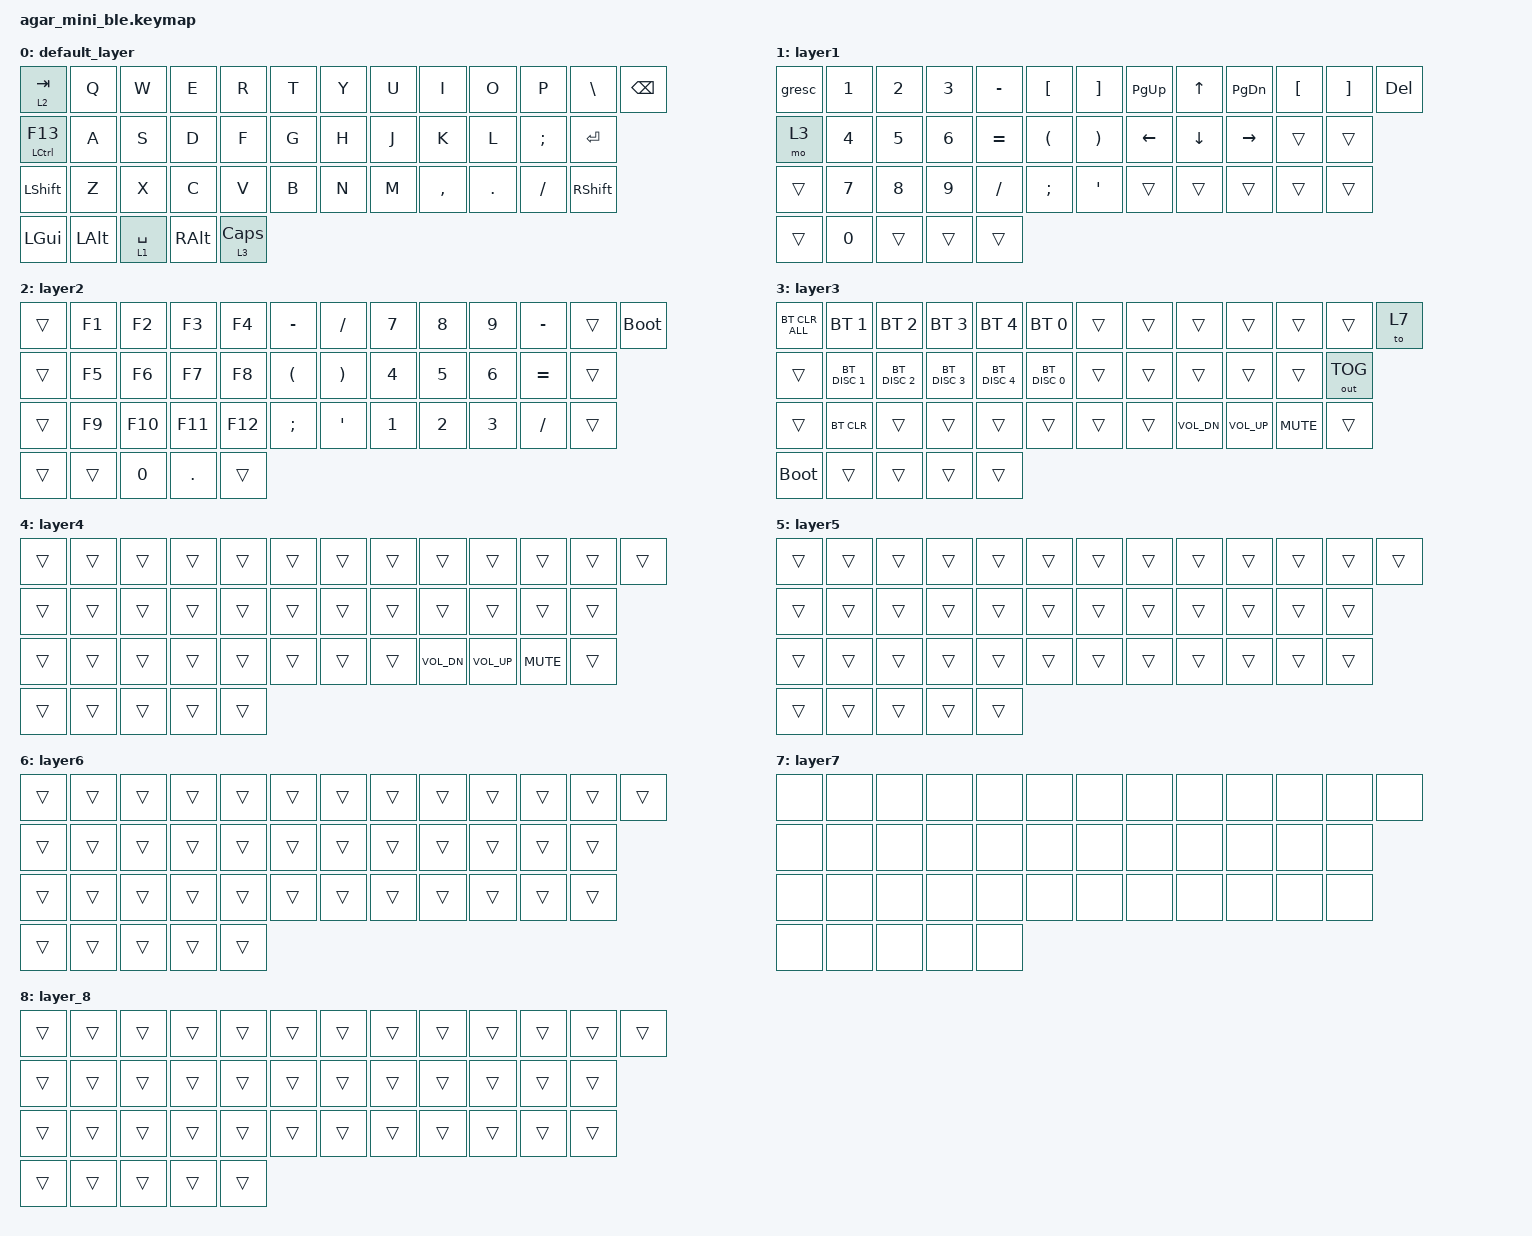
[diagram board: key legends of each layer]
/*
 * Copyright (c) 2021 The ZMK Contributors
 *
 * SPDX-License-Identifier: MIT
 */

#include "./boards/shields/klink_kbd/common.keymap"
#include <behaviors.dtsi>
#include <dt-bindings/zmk/bt.h>
#include <dt-bindings/zmk/keys.h>
#include <dt-bindings/zmk/outputs.h>

/ {
    combos {
        compatible = "zmk,combos";

        BT1 {
            bindings = <&bt BT_SEL 1>;
            key-positions = <14 1>;
            layers = <0>;
        };

        BT2 {
            bindings = <&bt BT_SEL 2>;
            key-positions = <2 15>;
            layers = <0>;
        };

        BT3 {
            bindings = <&bt BT_SEL 3>;
            key-positions = <3 16>;
            layers = <0>;
        };

        BT4 {
            bindings = <&bt BT_SEL 4>;
            key-positions = <4 17>;
            layers = <0>;
        };

        BT0 {
            bindings = <&bt BT_SEL 0>;
            key-positions = <5 18>;
            layers = <0>;
        };

        go0 {
            bindings = <&to 0>;
            key-positions = <17 20>;
            layers = <7>;
        };
    };

    keymap {
        compatible = "zmk,keymap";

        default_layer {
            bindings = <
&lt 2 TAB             &kp Q     &kp W        &kp E          &kp R           &kp T  &kp Y  &kp U  &kp I      &kp O    &kp P          &kp BACKSLASH    &kp BACKSPACE
&mt LEFT_CONTROL F13  &kp A     &kp S        &kp D          &kp F           &kp G  &kp H  &kp J  &kp K      &kp L    &kp SEMICOLON  &kp RET
&kp LSHFT             &kp Z     &kp X        &kp C          &kp V           &kp B  &kp N  &kp M  &kp COMMA  &kp DOT  &kp SLASH      &kp RIGHT_SHIFT
&kp LEFT_GUI          &kp LALT  &lt 1 SPACE  &kp RIGHT_ALT  &lt 3 CAPSLOCK
            >;
        };

        layer1 {
            bindings = <
&gresc  &kp NUMBER_1  &kp NUMBER_2  &kp NUMBER_3  &kp MINUS  &kp LEFT_BRACKET      &kp RIGHT_BRACKET      &kp PAGE_UP     &kp UP_ARROW    &kp PAGE_DOWN    &kp LEFT_BRACKET  &kp RIGHT_BRACKET  &kp DELETE
&mo 3   &kp NUMBER_4  &kp NUMBER_5  &kp NUMBER_6  &kp EQUAL  &kp LEFT_PARENTHESIS  &kp RIGHT_PARENTHESIS  &kp LEFT_ARROW  &kp DOWN_ARROW  &kp RIGHT_ARROW  &trans            &trans
&trans  &kp NUMBER_7  &kp NUMBER_8  &kp NUMBER_9  &kp SLASH  &kp SEMICOLON         &kp SINGLE_QUOTE       &trans          &trans          &trans           &trans            &trans
&trans  &kp NUMBER_0  &trans        &trans        &trans
            >;
        };

        layer2 {
            bindings = <
&trans  &kp F1  &kp F2        &kp F3   &kp F4   &kp MINUS             &kp SLASH              &kp NUMBER_7  &kp NUMBER_8  &kp NUMBER_9  &kp MINUS  &trans  &bootloader
&trans  &kp F5  &kp F6        &kp F7   &kp F8   &kp LEFT_PARENTHESIS  &kp RIGHT_PARENTHESIS  &kp NUMBER_4  &kp NUMBER_5  &kp NUMBER_6  &kp EQUAL  &trans
&trans  &kp F9  &kp F10       &kp F11  &kp F12  &kp SEMICOLON         &kp SINGLE_QUOTE       &kp NUMBER_1  &kp NUMBER_2  &kp NUMBER_3  &kp SLASH  &trans
&trans  &trans  &kp NUMBER_0  &kp DOT  &trans
            >;
        };

        layer3 {
            bindings = <
&bt BT_CLR_ALL  &bt BT_SEL 1   &bt BT_SEL 2   &bt BT_SEL 3   &bt BT_SEL 4   &bt BT_SEL 0   &trans  &trans  &trans        &trans           &trans      &trans        &to 7
&trans          &bt BT_DISC 1  &bt BT_DISC 2  &bt BT_DISC 3  &bt BT_DISC 4  &bt BT_DISC 0  &trans  &trans  &trans        &trans           &trans      &out OUT_TOG
&trans          &bt BT_CLR     &trans         &trans         &trans         &trans         &trans  &trans  &kp C_VOL_DN  &kp C_VOLUME_UP  &kp C_MUTE  &trans
&bootloader     &trans         &trans         &trans         &trans
            >;
        };

        layer4 {
            bindings = <
&trans  &trans  &trans  &trans  &trans  &trans  &trans  &trans  &trans        &trans           &trans      &trans  &trans
&trans  &trans  &trans  &trans  &trans  &trans  &trans  &trans  &trans        &trans           &trans      &trans
&trans  &trans  &trans  &trans  &trans  &trans  &trans  &trans  &kp C_VOL_DN  &kp C_VOLUME_UP  &kp C_MUTE  &trans
&trans  &trans  &trans  &trans  &trans
            >;
        };

        layer5 {
            bindings = <
&trans  &trans  &trans  &trans  &trans  &trans  &trans  &trans  &trans  &trans  &trans  &trans  &trans
&trans  &trans  &trans  &trans  &trans  &trans  &trans  &trans  &trans  &trans  &trans  &trans
&trans  &trans  &trans  &trans  &trans  &trans  &trans  &trans  &trans  &trans  &trans  &trans
&trans  &trans  &trans  &trans  &trans
            >;
        };

        layer6 {
            bindings = <
&trans  &trans  &trans  &trans  &trans  &trans  &trans  &trans  &trans  &trans  &trans  &trans  &trans
&trans  &trans  &trans  &trans  &trans  &trans  &trans  &trans  &trans  &trans  &trans  &trans
&trans  &trans  &trans  &trans  &trans  &trans  &trans  &trans  &trans  &trans  &trans  &trans
&trans  &trans  &trans  &trans  &trans
            >;
        };

        layer7 {
            bindings = <
&none  &none  &none  &none  &none  &none  &none  &none  &none  &none  &none  &none  &none
&none  &none  &none  &none  &none  &none  &none  &none  &none  &none  &none  &none
&none  &none  &none  &none  &none  &none  &none  &none  &none  &none  &none  &none
&none  &none  &none  &none  &none
            >;
        };

        layer_8 {
            bindings = <
&trans  &trans  &trans  &trans  &trans  &trans  &trans  &trans  &trans  &trans  &trans  &trans  &trans
&trans  &trans  &trans  &trans  &trans  &trans  &trans  &trans  &trans  &trans  &trans  &trans
&trans  &trans  &trans  &trans  &trans  &trans  &trans  &trans  &trans  &trans  &trans  &trans
&trans  &trans  &trans  &trans  &trans
            >;
        };
    };
};
